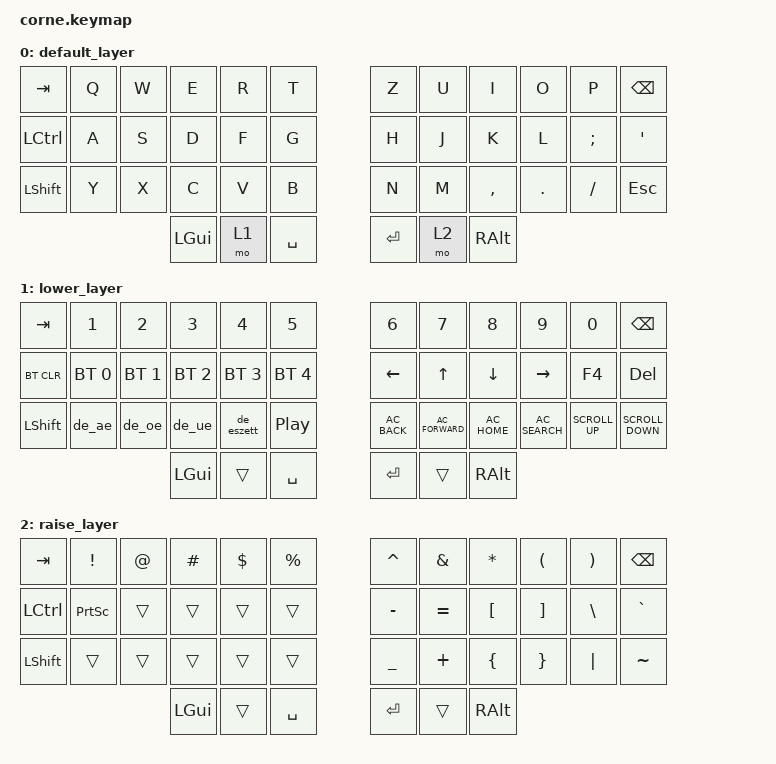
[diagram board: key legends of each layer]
/*
 * Copyright (c) 2020 The ZMK Contributors
 *
 * SPDX-License-Identifier: MIT
 */
#include <behaviors.dtsi>
#include <dt-bindings/zmk/keys.h>
#include <dt-bindings/zmk/bt.h>
//#define HOST_OS 1         //auskommentieren wenn unter windows
#include "zmk-helpers/helper.h"
#include "zmk-helpers/unicode-chars/german.dtsi"
/ {
        keymap {
                compatible = "zmk,keymap";
                default_layer {
// -----------------------------------------------------------------------------------------
// |  TAB |  Q  |  W  |  E  |  R  |  T  |   |  Z  |  U   |  I  |  O  |  P  | BSPC |
// | CTRL |  A  |  S  |  D  |  F  |  G  |   |  H  |  J   |  K  |  L  |  ;  |  '   |
// | SHFT |  Y  |  X  |  C  |  V  |  B  |   |  N  |  M   |  ,  |  .  |  /  | ESC  |
//                    | GUI | LWR | SPC |   | ENT | RSE  | ALT |
                        bindings = <
   &kp TAB   &kp Q &kp W &kp E &kp R &kp T   &kp Z &kp U  &kp I     &kp O   &kp P    &kp BSPC
   &kp LCTRL &kp A &kp S &kp D &kp F &kp G   &kp H &kp J  &kp K     &kp L   &kp SEMI &kp SQT
   &kp LSHFT &kp Y &kp X &kp C &kp V &kp B   &kp N &kp M  &kp COMMA &kp DOT &kp FSLH &kp ESC
                  &kp LGUI &mo 1 &kp SPACE   &kp RET &mo 2 &kp RALT
                        >;
                };
                lower_layer {
// -----------------------------------------------------------------------------------------
// |  TAB |  1  |  2  |  3  |  4  |  5  |   |  6  |  7  |  8  |  9  |  0  | BSPC |
// | BTCLR| BT1 | BT2 | BT3 | BT4 | BT5 |   | LFT | DWN |  UP | RGT |     |      |
// | SHFT |     |     |     |     |     |   |     |     |     |     |     |      |
//                    | GUI |     | SPC |   | ENT |     | ALT |
                        bindings = <
   &kp TAB    &kp N1       &kp N2       &kp N3       &kp N4       &kp N5         &kp N6   &kp N7   &kp N8 &kp N9    &kp N0 &kp BSPC
   &bt BT_CLR &bt BT_SEL 0 &bt BT_SEL 1 &bt BT_SEL 2 &bt BT_SEL 3 &bt BT_SEL 4   &kp LEFT &kp UP &kp DOWN &kp RIGHT &kp F4 &kp DELETE
   &kp LSHFT  &de_ae       &de_oe       &de_ue       &de_eszett   &kp C_PLAY_PAUSE         &kp C_AC_BACK   &kp C_AC_FORWARD   &kp C_AC_HOME   &kp C_AC_SEARCH   &kp K_SCROLL_UP   &kp K_SCROLL_DOWN
                                    &kp LGUI     &trans       &kp SPACE      &kp RET  &trans   &kp RALT
                        >;
                };
                raise_layer {
// -----------------------------------------------------------------------------------------
// |  TAB |  !  |  @  |  #  |  $  |  %  |   |  ^  |  &  |  *  |  (  |  )  | BSPC |
// | CTRL |     |     |     |     |     |   |  -  |  =  |  [  |  ]  |  \  |  `   |
// | SHFT |     |     |     |     |     |   |  _  |  +  |  {  |  }  | "|" |  ~   |
//                    | GUI |     | SPC |   | ENT |     | ALT |
                        bindings = <
   &kp  TAB  &kp EXCL &kp AT &kp HASH &kp DLLR &kp PRCNT   &kp CARET &kp AMPS  &kp ASTRK &kp LPAR &kp RPAR &kp BSPC
   &kp LCTRL &kp PRINTSCREEN   &trans &trans   &trans   &trans      &kp MINUS &kp EQUAL &kp LBKT  &kp RBKT &kp BSLH &kp GRAVE
   &kp LSHFT &trans   &trans &trans   &trans   &trans      &kp UNDER &kp PLUS  &kp LBRC  &kp RBRC &kp PIPE &kp TILDE
                             &kp LGUI &trans   &kp SPACE   &kp RET   &trans    &kp RALT
                        >;
                };
        };
};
